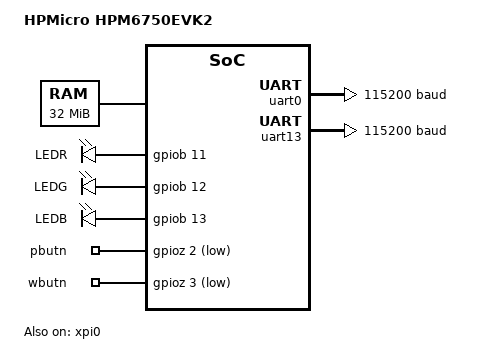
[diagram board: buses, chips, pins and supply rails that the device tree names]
/*
 * Copyright 2024 HPMicro
 * SPDX-License-Identifier: Apache-2.0
 */

/dts-v1/;

#include <hpmicro/hpm6750.dtsi>
#include "hpm6750evk2-pinctrl.dtsi"
#include <zephyr/dt-bindings/display/panel.h>

/ {
	model = "HPMicro HPM6750EVK2";
	compatible = "HPMicro,hpm6750evk2";

	aliases {
		led0 = &led_r;
		led1 = &led_g;
		led2 = &led_b;
		sw0 = &pbutn;
		eeprom-0 = &eeprom;
	};

	chosen {
		zephyr,console = &uart0;
		zephyr,shell-uart = &uart0;
		zephyr,sram = &dram;
		zephyr,flash = &flash0;
		zephyr,itcm = &ilm;
		zephyr,dtcm = &dlm;
		zephyr,code-partition = &slot0_partition;
	};

	dram: memory@40000000 {
		device_type = "memory";
		reg = <0x40000000 DT_SIZE_M(32)>;
	};

	leds {
		compatible = "gpio-leds";
		led_r: led_r {
			gpios = <&gpiob 11 (GPIO_PULL_DOWN | GPIO_ACTIVE_HIGH)>;
			label = "LEDR";
		};
		led_g: led_g {
			gpios = <&gpiob 12 (GPIO_PULL_DOWN | GPIO_ACTIVE_HIGH)>;
			label = "LEDG";
		};
		led_b: led_b {
			gpios = <&gpiob 13 (GPIO_PULL_DOWN | GPIO_ACTIVE_HIGH)>;
			label = "LEDB";
		};
	};

	gpio_keys {
		compatible = "gpio-keys";
		pbutn: pbutn {
			gpios = <&gpioz 2 (GPIO_PULL_UP | GPIO_ACTIVE_LOW)>;
		};
		wbutn: wbutn {
			gpios = <&gpioz 3 (GPIO_PULL_UP | GPIO_ACTIVE_LOW)>;
		};
	};

	panels {
		panel_tm070rdh13: panel_tm070rdh13 {
			compatible = "hpmicro,hpm-display-rgb";
			panel_name = "tm070rdh13";
			width = <800>;
			height = <480>;
			pixel_clock_khz = <60000>;
			hactive = <800>;
			hfront_porch = <50>;
			hback_porch = <36>;
			hsync_len = <10>;
			hsync_pol = <1>;

			vactive = <480>;
			vfront_porch = <10>;
			vback_porch = <20>;
			vsync_len = <3>;
			vsync_pol = <1>;
		};
	};

	video {
		video0: video0 {
			compatible = "hpmicro,hpm-video";
			status = "disabled";
		};

		video1: video1 {
			compatible = "hpmicro,hpm-video";
			status = "disabled";
		};
	};

};

&rgb0 {
	endpoint_in = <&lcdc0>;
};

&panel_tm070rdh13 {
	endpoint_in = <&rgb0>;
	pinctrl-0 = <&pinmux_rgb>;
	pinctrl-names = "default";
	backlight-gpios = <&gpiob 10 GPIO_ACTIVE_HIGH>;
	reset-gpios = <&gpiob 16 GPIO_ACTIVE_LOW>;
	cfg-gpios = <&gpioz 0 GPIO_ACTIVE_HIGH>;
	reset-time-active = <10>;
	pixel-format = <PANEL_PIXEL_FORMAT_ARGB_8888>;
	status = "disabled";
};

&uart0 {
	status = "okay";
	current-speed = <115200>;
	pinctrl-0 = <&pinmux_uart0>;
	pinctrl-names = "default";
	uart-idle-trgm-reg = <0xF022C000>;
	uart-idle-trgm-pin = <115>;
	uart-idle-trgm-input-src = <0x0B>;
	uart-idle-trgm-output-gptmr-in = <0x38>;
	uart-idle-trgm-output-gptmr-sync = <0x37>;
	uart-idle-gptmr-reg = <0xF3010000>;
	uart-idle-gptmr-clock-name = <18743311>;
	dmas = <&hdma 0 8>, <&hdma 1 9>;
	dma-names = "rx", "tx";
};

&uart13 {
	status = "okay";
	current-speed = <115200>;
	pinctrl-0 = <&pinmux_uart13>;
	pinctrl-names = "default";
	uart-idle-trgm-reg = <0xF022C000>;
	uart-idle-trgm-pin = <115>;
	uart-idle-trgm-input-src = <0x0B>;
	uart-idle-trgm-output-gptmr-in = <0x3b>;
	uart-idle-trgm-output-gptmr-sync = <0x3a>;
	uart-idle-gptmr-reg = <0xF3014000>;
	uart-idle-gptmr-clock-name = <18808848>;
	dmas = <&hdma 2 0x22>, <&hdma 3 0x23>;
	dma-names = "rx", "tx";
};

&gpiob {
	pinctrl-0 = <&pinmux_gpiob>;
	pinctrl-names = "default";
	status = "okay";
};

&gpioe {
	pinctrl-0 = <&pinmux_gpioe>;
	pinctrl-names = "default";
	status = "okay";
};

&gpioz {
	pinctrl-0 = <&pinmux_gpioz>;
	pinctrl-names = "default";
	status = "okay";	
};

&gpioy {
	pinctrl-0 = <&pinmux_gpioy>;
	pinctrl-names = "default";
	status = "okay";	
};

&i2c0 {
	status = "disabled";
	pinctrl-0 = <&pinmux_i2c0>;
	pinctrl-names = "default";

	ov7725: ov7725@21 {
		compatible = "ovti,ov7725";
		reg = <0x21>;
		status = "disabled";

		reset-gpios = <&gpioa 22 GPIO_ACTIVE_HIGH>;
	};

	touch_rgb: gt911@5d {
        compatible = "goodix,gt911";
		reg = <0x5d>;
		irq-gpios = <&gpiob 8 GPIO_ACTIVE_HIGH>;
		reset-gpios = <&gpiob 9 GPIO_ACTIVE_LOW>;
	};

	eeprom: eeprom@50 {
		compatible = "atmel,at24";
		status = "disabled";
		reg = <0x50>;
		size = <256>;
		address-width = <8>;
		timeout = <25>;
		pagesize = <16>;
	};
};
&spi2 {
	status = "disabled";
	pinctrl-0 = <&pinmux_spi2>;
	pinctrl-names = "default";
	cs-gpios = <&gpioe 31 GPIO_ACTIVE_LOW>;
	/* HDMA channels 0 and 1, muxed to SPI2 RX and TX */
	dmas = <&hdma 0 4>, <&hdma 1 5>;
	dma-names = "rx", "tx";
};
&hdma {
	status = "okay";
};

&xdma {
	status = "okay";
};

&xpi0 {
	status = "okay";
	flash0: flash@0 {
		compatible = "soc-nv-flash";
		reg = <0x80000000 DT_SIZE_M(16)>;
		status = "okay";
		erase-block-size = <4096>;
		write-block-size = <1>;
		
		partitions {
			compatible = "fixed-partitions";
			#address-cells = <1>;
			#size-cells = <1>;

			boot_partition: partition@0 {
				label = "mcuboot";
				reg = <0x0 0x3000>;
			};

			slot0_partition: partition@3000 {
				label = "image-0";
				reg = <0x3000 DT_SIZE_M(4)>;
			};
		};
	};
};

&camera0 {
	status = "disabled";
	interface = "dvp";
	pinctrl-0 = <&pinmux_dvp0>;
	pinctrl-names = "default";
	pixclk_sampling_falling = <1>;
	hsync_active_low = <1>;
	vsync_active_low = <1>;
};

&video0 {
	status = "disabled";
	video_count = <1>;
	sensor = <&ov7725>;
	camera = <&camera0>;
};

